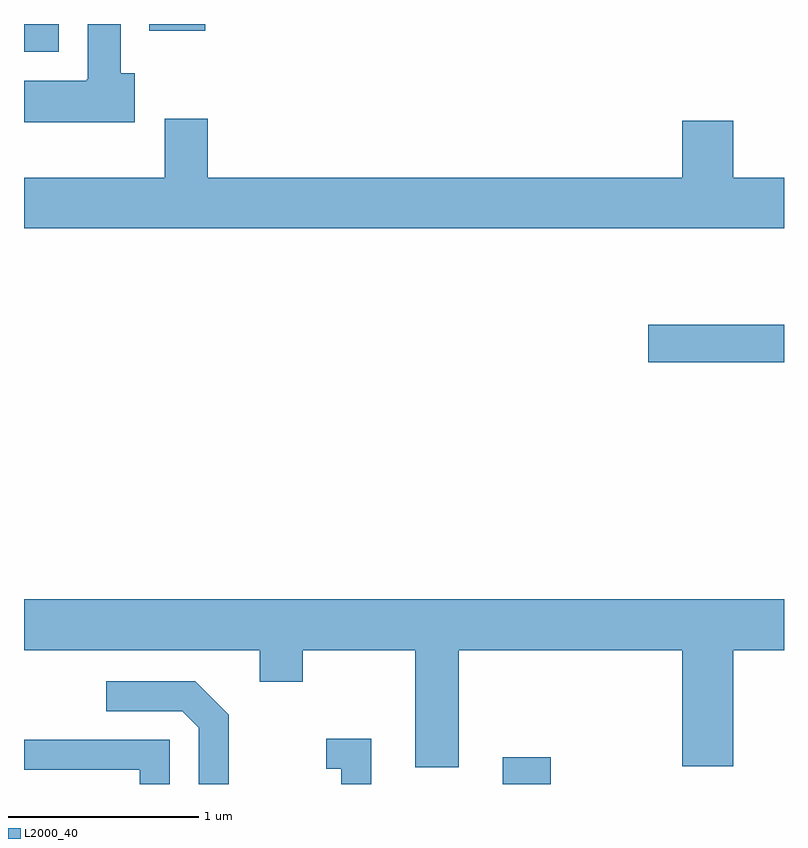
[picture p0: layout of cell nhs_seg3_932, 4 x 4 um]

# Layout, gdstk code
import gdstk
lib = gdstk.Library(unit=1e-6, precision=1e-09)
def R(c, l, rs):  # rectangles x0, y0, x1, y1
    for r in rs: c.add(gdstk.rectangle(r[:2], r[2:], *l))
def P(c, l, *ps):  # polygons
    for p in ps: c.add(gdstk.Polygon(p, *l))
L2000_40 = (2000, 40)

nhs_seg3_932 = lib.new_cell('nhs_seg3_932')
R(nhs_seg3_932, L2000_40, [(214.131,1211.892,214.384,1212.034), (214.896,1214.111,215.611,1214.309), (211.611,1215.746,211.794,1215.892), (212.271,1215.856,212.564,1215.892), (214.156,1215.891,214.784,1215.892)])
P(nhs_seg3_932, L2000_40, [(212.194,1215.634),(212.119,1215.634),(212.119,1215.892),(211.946,1215.892),(211.946,1215.6),(211.94,1215.6),(211.94,1215.594),(211.611,1215.594),(211.611,1215.376),(212.194,1215.376)],
  [(215.611,1215.084),(215.344,1215.084),(215.344,1215.384),(215.076,1215.384),(215.076,1215.084),(212.579,1215.084),(212.579,1215.394),(212.351,1215.394),(212.351,1215.084),(211.611,1215.084),(211.611,1214.816),(215.611,1214.816)],
  [(213.899,1212.596),(215.076,1212.596),(215.076,1211.986),(215.344,1211.986),(215.344,1212.596),(215.611,1212.596),(215.611,1212.864),(211.611,1212.864),(211.611,1212.596),(212.851,1212.596),(212.851,1212.431),(213.079,1212.431),(213.079,1212.596),(213.671,1212.596),(213.671,1211.981),(213.899,1211.981)],
  [(212.689,1212.257),(212.512,1212.434),(212.043,1212.434),(212.043,1212.276),(212.444,1212.276),(212.531,1212.189),(212.531,1211.892),(212.689,1211.892)],
  [(213.439,1212.129),(213.203,1212.129),(213.203,1211.971),(213.281,1211.971),(213.281,1211.892),(213.439,1211.892)],
  [(212.379,1212.124),(211.611,1212.124),(211.611,1211.966),(212.221,1211.966),(212.221,1211.892),(212.379,1211.892)])

lib.write_gds('nhs_seg3_932.gds')
